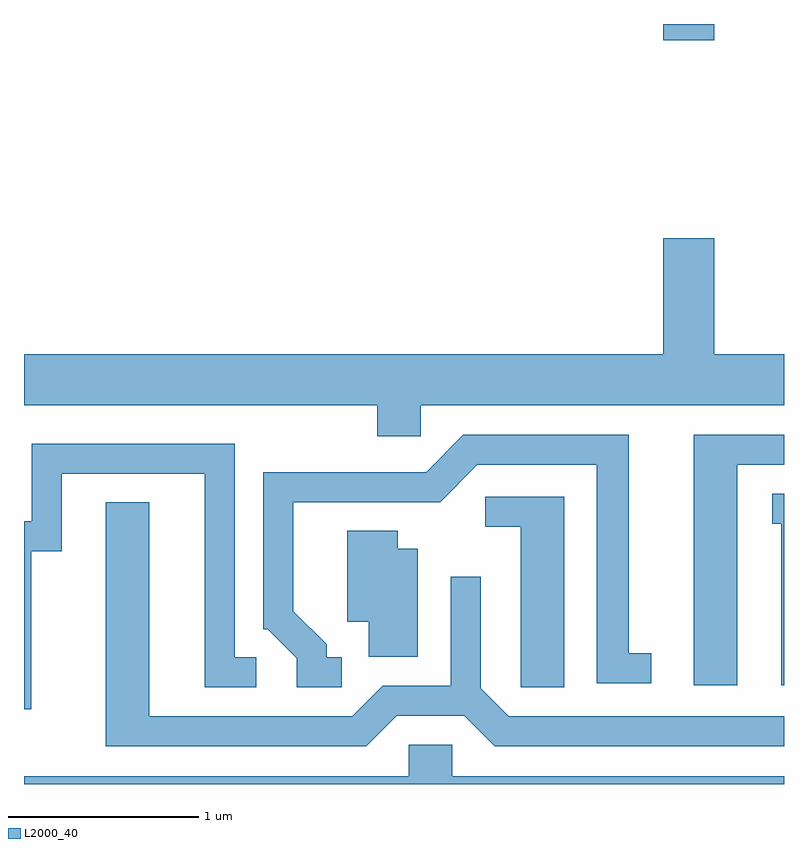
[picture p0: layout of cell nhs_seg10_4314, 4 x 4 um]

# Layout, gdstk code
import gdstk
lib = gdstk.Library(unit=1e-6, precision=1e-09)
def R(c, l, rs):  # rectangles x0, y0, x1, y1
    for r in rs: c.add(gdstk.rectangle(r[:2], r[2:], *l))
def P(c, l, *ps):  # polygons
    for p in ps: c.add(gdstk.Polygon(p, *l))
L2000_40 = (2000, 40)

nhs_seg10_4314 = lib.new_cell('nhs_seg10_4314')
R(nhs_seg10_4314, L2000_40, [(314.976,2182.436,315.244,2182.522)])
P(nhs_seg10_4314, L2000_40, [(313.699,2180.516),(315.611,2180.516),(315.611,2180.784),(315.244,2180.784),(315.244,2181.394),(314.976,2181.394),(314.976,2180.784),(311.611,2180.784),(311.611,2180.516),(313.471,2180.516),(313.471,2180.351),(313.699,2180.351)],
  [(313.283,2179.189),(313.204,2179.189),(313.204,2179.257),(313.029,2179.432),(313.029,2180.006),(313.802,2180.006),(313.997,2180.201),(314.626,2180.201),(314.626,2179.051),(314.913,2179.051),(314.913,2179.209),(314.794,2179.209),(314.794,2180.359),(313.924,2180.359),(313.729,2180.164),(312.871,2180.164),(312.871,2179.336),(312.894,2179.336),(313.046,2179.184),(313.046,2179.031),(313.283,2179.031)],
  [(315.364,2180.201),(315.611,2180.201),(315.611,2180.359),(315.136,2180.359),(315.136,2179.041),(315.364,2179.041)],
  [(311.649,2179.746),(311.809,2179.746),(311.809,2180.156),(312.561,2180.156),(312.561,2179.031),(312.833,2179.031),(312.833,2179.189),(312.719,2179.189),(312.719,2180.314),(311.651,2180.314),(311.651,2179.904),(311.611,2179.904),(311.611,2178.916),(311.649,2178.916)],
  [(315.611,2180.049),(315.548,2180.049),(315.548,2179.891),(315.596,2179.891),(315.596,2179.041),(315.611,2179.041)],
  [(314.454,2180.034),(314.038,2180.034),(314.038,2179.876),(314.226,2179.876),(314.226,2179.031),(314.454,2179.031)],
  [(313.572,2178.881),(313.929,2178.881),(314.089,2178.721),(315.611,2178.721),(315.611,2178.879),(314.162,2178.879),(314.014,2179.027),(314.014,2179.613),(313.856,2179.613),(313.856,2179.039),(313.499,2179.039),(313.339,2178.879),(312.269,2178.879),(312.269,2180.004),(312.041,2180.004),(312.041,2178.721),(313.412,2178.721)],
  [(313.684,2179.759),(313.579,2179.759),(313.579,2179.854),(313.311,2179.854),(313.311,2179.376),(313.426,2179.376),(313.426,2179.191),(313.684,2179.191)],
  [(315.611,2178.564),(313.864,2178.564),(313.864,2178.729),(313.636,2178.729),(313.636,2178.564),(311.611,2178.564),(311.611,2178.522),(315.611,2178.522)])

lib.write_gds('nhs_seg10_4314.gds')
